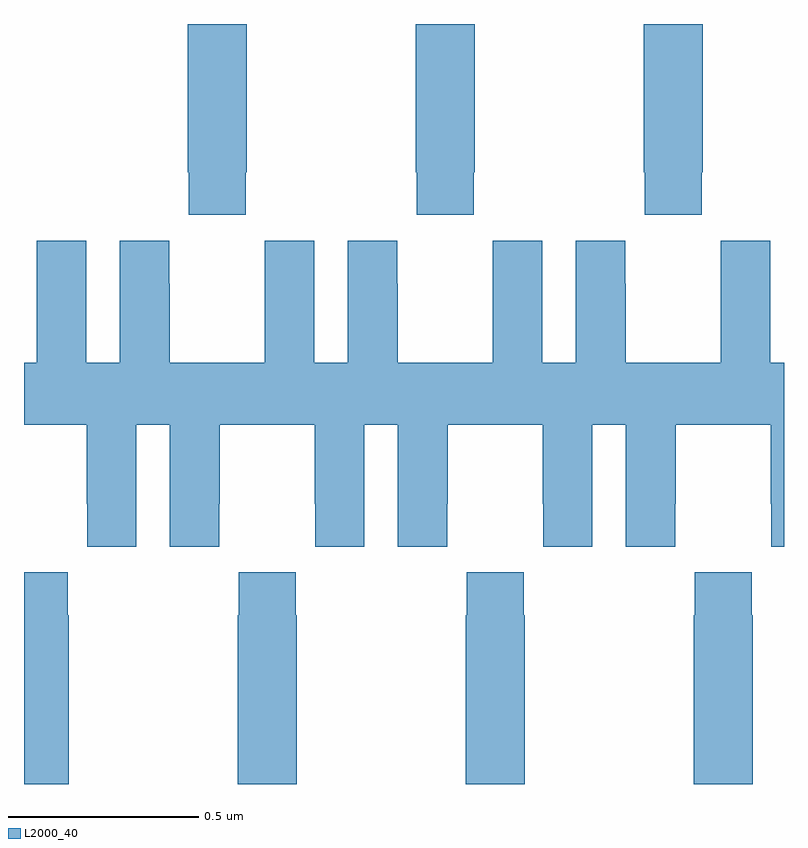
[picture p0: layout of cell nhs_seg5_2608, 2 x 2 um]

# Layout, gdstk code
import gdstk
lib = gdstk.Library(unit=1e-6, precision=1e-09)
def P(c, l, *ps):  # polygons
    for p in ps: c.add(gdstk.Polygon(p, *l))
L2000_40 = (2000, 40)

nhs_seg5_2608 = lib.new_cell('nhs_seg5_2608')
P(nhs_seg5_2608, L2000_40, [(147.183,873.409),(147.186,873.409),(147.186,873.799),(147.031,873.799),(147.031,873.409),(147.033,873.409),(147.033,873.297),(147.183,873.297)],
  [(147.783,873.409),(147.786,873.409),(147.786,873.799),(147.631,873.799),(147.631,873.409),(147.633,873.409),(147.633,873.297),(147.783,873.297)],
  [(146.583,873.409),(146.586,873.409),(146.586,873.799),(146.431,873.799),(146.431,873.409),(146.433,873.409),(146.433,873.297),(146.583,873.297)],
  [(146.165,872.536),(146.166,872.536),(146.166,872.424),(146.296,872.424),(146.296,872.744),(146.384,872.744),(146.384,872.424),(146.514,872.424),(146.514,872.536),(146.515,872.536),(146.515,872.744),(146.765,872.744),(146.765,872.536),(146.766,872.536),(146.766,872.424),(146.896,872.424),(146.896,872.744),(146.984,872.744),(146.984,872.424),(147.114,872.424),(147.114,872.536),(147.115,872.536),(147.115,872.744),(147.365,872.744),(147.365,872.536),(147.366,872.536),(147.366,872.424),(147.496,872.424),(147.496,872.744),(147.584,872.744),(147.584,872.424),(147.714,872.424),(147.714,872.536),(147.715,872.536),(147.715,872.744),(147.965,872.744),(147.965,872.536),(147.966,872.536),(147.966,872.424),(148,872.424),(148,872.908),(147.964,872.908),(147.964,873.229),(147.834,873.229),(147.834,873.116),(147.833,873.116),(147.833,872.908),(147.583,872.908),(147.583,873.116),(147.582,873.116),(147.582,873.229),(147.452,873.229),(147.452,872.908),(147.364,872.908),(147.364,873.229),(147.234,873.229),(147.234,873.116),(147.233,873.116),(147.233,872.908),(146.983,872.908),(146.983,873.116),(146.982,873.116),(146.982,873.229),(146.852,873.229),(146.852,872.908),(146.764,872.908),(146.764,873.229),(146.634,873.229),(146.634,873.116),(146.633,873.116),(146.633,872.908),(146.383,872.908),(146.383,873.116),(146.382,873.116),(146.382,873.229),(146.252,873.229),(146.252,872.908),(146.164,872.908),(146.164,873.229),(146.034,873.229),(146.034,873.116),(146.033,873.116),(146.033,872.908),(146,872.908),(146,872.744),(146.165,872.744)],
  [(147.918,872.243),(147.915,872.243),(147.915,872.356),(147.765,872.356),(147.765,872.243),(147.763,872.243),(147.763,871.799),(147.918,871.799)],
  [(147.318,872.243),(147.315,872.243),(147.315,872.356),(147.165,872.356),(147.165,872.243),(147.163,872.243),(147.163,871.799),(147.318,871.799)],
  [(146.718,872.243),(146.715,872.243),(146.715,872.356),(146.565,872.356),(146.565,872.243),(146.563,872.243),(146.563,871.799),(146.718,871.799)],
  [(146.118,872.243),(146.115,872.243),(146.115,872.356),(146,872.356),(146,871.799),(146.118,871.799)])

lib.write_gds('nhs_seg5_2608.gds')
